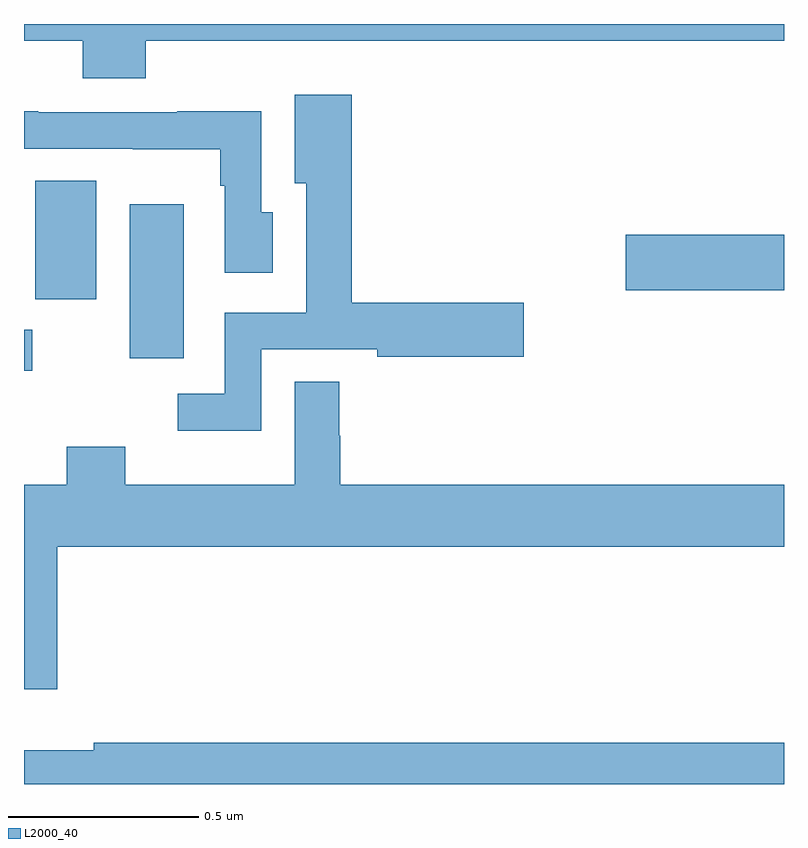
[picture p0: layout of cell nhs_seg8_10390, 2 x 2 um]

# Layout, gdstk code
import gdstk
lib = gdstk.Library(unit=1e-6, precision=1e-09)
def R(c, l, rs):  # rectangles x0, y0, x1, y1
    for r in rs: c.add(gdstk.rectangle(r[:2], r[2:], *l))
def P(c, l, *ps):  # polygons
    for p in ps: c.add(gdstk.Polygon(p, *l))
L2000_40 = (2000, 40)

nhs_seg8_10390 = lib.new_cell('nhs_seg8_10390')
R(nhs_seg8_10390, L2000_40, [(249,1092.987,249.022,1093.095), (249.278,1093.02,249.421,1093.426), (249.029,1093.176,249.19,1093.487), (250.584,1093.199,251,1093.346)])
P(nhs_seg8_10390, L2000_40, [(249.32,1093.856),(251,1093.856),(251,1093.9),(249,1093.9),(249,1093.856),(249.155,1093.856),(249.155,1093.757),(249.32,1093.757)],
  [(249.624,1093.044),(249.93,1093.044),(249.93,1093.024),(250.315,1093.024),(250.315,1093.166),(249.862,1093.166),(249.862,1093.714),(249.713,1093.714),(249.713,1093.481),(249.743,1093.481),(249.743,1093.14),(249.528,1093.14),(249.528,1092.927),(249.405,1092.927),(249.405,1092.83),(249.624,1092.83)],
  [(249.655,1093.404),(249.624,1093.404),(249.624,1093.67),(249.403,1093.67),(249.403,1093.668),(249.037,1093.668),(249.037,1093.67),(249,1093.67),(249,1093.572),(249.286,1093.572),(249.286,1093.571),(249.516,1093.571),(249.516,1093.475),(249.528,1093.475),(249.528,1093.245),(249.655,1093.245)],
  [(249.088,1092.524),(251,1092.524),(251,1092.688),(249.832,1092.688),(249.832,1092.816),(249.83,1092.816),(249.83,1092.959),(249.713,1092.959),(249.713,1092.688),(249.267,1092.688),(249.267,1092.787),(249.112,1092.787),(249.112,1092.688),(249,1092.688),(249,1092.15),(249.088,1092.15)],
  [(251,1092.008),(249.184,1092.008),(249.184,1091.989),(249,1091.989),(249,1091.9),(251,1091.9)])

lib.write_gds('nhs_seg8_10390.gds')
